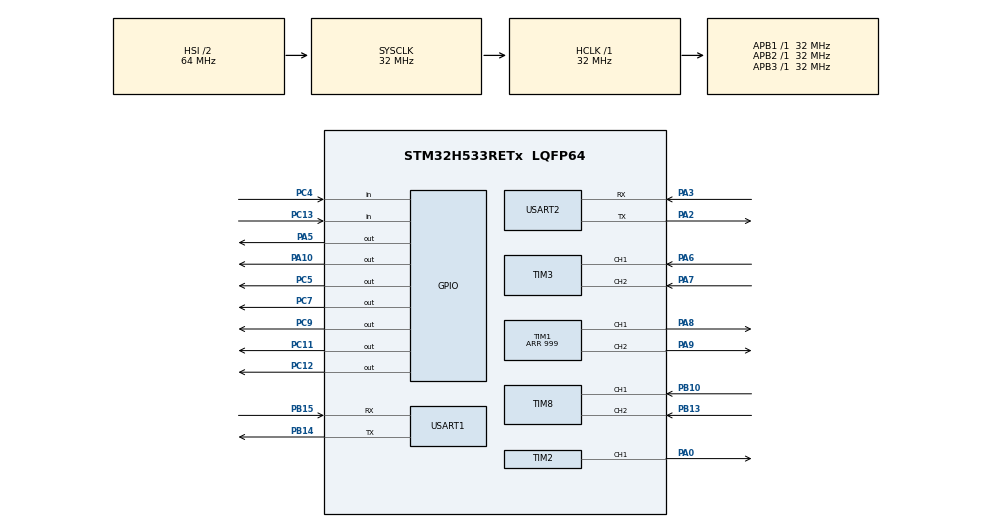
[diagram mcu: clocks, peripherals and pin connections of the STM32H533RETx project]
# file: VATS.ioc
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BOOTPATH.BootPathName=LEGACY
BOOTPATH.UserSelectedBootPath=LEGACY
CORTEX_M33_NS.userName=CORTEX_M33
Mcu.Family=STM32H5
Mcu.Name=STM32H533RETx
Mcu.Package=LQFP64
NVIC.PriorityGroup=NVIC_PRIORITYGROUP_4
NVIC.USART2_IRQn=true\:0\:0\:false\:false\:true\:true\:true\:true
PA0.Signal=S_TIM2_CH1
PA10.Signal=GPIO_Output
PA13(JTMS/SWDIO).GPIO_Label=SWDIO
PA13(JTMS/SWDIO).Signal=DEBUG_JTMS-SWDIO
PA14(JTCK/SWCLK).GPIO_Label=SWCLK
PA14(JTCK/SWCLK).Signal=DEBUG_JTCK-SWCLK
PA15(JTDI).GPIO_Label=JTDI
PA15(JTDI).Signal=DEBUG_JTDI
PA2.Mode=Asynchronous
PA2.Signal=USART2_TX
PA3.Mode=Asynchronous
PA3.Signal=USART2_RX
PA5.Signal=GPIO_Output
PA6.Signal=S_TIM3_CH1
PA7.Signal=S_TIM3_CH2
PA8.Signal=S_TIM1_CH1
PA9.Signal=S_TIM1_CH2
PB10.Signal=S_TIM8_CH1
PB13.Signal=S_TIM8_CH2
PB14.Mode=Asynchronous
PB14.Signal=USART1_TX
PB15.Mode=Asynchronous
PB15.Signal=USART1_RX
PB3(JTDO/TRACESWO).GPIO_Label=SWO
PB3(JTDO/TRACESWO).Signal=DEBUG_JTDO-SWO
PB6.Signal=I2C1_SCL
PB7.Signal=I2C1_SDA
PC11.Signal=GPIO_Output
PC12.Signal=GPIO_Output
PC13.Signal=GPIO_Input
PC4.Signal=GPIO_Input
PC5.Signal=GPIO_Output
PC7.Signal=GPIO_Output
PC9.Signal=GPIO_Output
ProjectManager.HeapSize=0x200
ProjectManager.StackSize=0x400
ProjectManager.TargetToolchain=STM32CubeIDE
RCC.ADCFreq_Value=32000000
RCC.AHBFreq_Value=32000000
RCC.APB1Freq_Value=32000000
RCC.APB1TimFreq_Value=32000000
RCC.APB2Freq_Value=32000000
RCC.APB2TimFreq_Value=32000000
RCC.APB3Freq_Value=32000000
RCC.CSI_VALUE=4000000
RCC.CortexFreq_Value=32000000
RCC.EPOD_VALUE=4000000
RCC.HCLKFreq_Value=32000000
RCC.HSE_VALUE=25000000
RCC.HSI48_VALUE=48000000
RCC.HSI_VALUE=64000000
RCC.LSE_VALUE=32768
RCC.LSIRC_VALUE=32000
RCC.SYSCLKFreq_VALUE=32000000
RCC.USBFreq_Value=48000000
RCC.VCOOutputFreq_Value=516000000
SH.S_TIM1_CH1.0=TIM1_CH1,PWM Generation1 CH1
SH.S_TIM1_CH2.0=TIM1_CH2,PWM Generation2 CH2
SH.S_TIM2_CH1.0=TIM2_CH1,PWM Generation1 CH1
SH.S_TIM3_CH1.0=TIM3_CH1,Encoder_Interface
SH.S_TIM3_CH2.0=TIM3_CH2,Encoder_Interface
SH.S_TIM8_CH1.0=TIM8_CH1,Encoder_Interface
SH.S_TIM8_CH2.0=TIM8_CH2,Encoder_Interface
TIM1.Channel-PWM\ Generation1\ CH1=TIM_CHANNEL_1
TIM1.Channel-PWM\ Generation2\ CH2=TIM_CHANNEL_2
TIM1.PeriodNoDither=999
TIM2.Channel-PWM\ Generation1\ CH1=TIM_CHANNEL_1
USART1.VirtualMode-Asynchronous=VM_ASYNC
USART2.VirtualMode-Asynchronous=VM_ASYNC
VP_BOOTPATH_VS_BOOTPATH.Mode=BP_Activate
VP_CORTEX_M33_NS_VS_Hclk.Mode=Hclk_Mode
VP_MEMORYMAP_VS_MEMORYMAP.Mode=CurAppReg
VP_PWR_VS_LPOM.Mode=PowerOptimisation
VP_PWR_VS_SECSignals.Mode=Security/Privilege
VP_TIM1_VS_ClockSourceINT.Mode=Internal
VP_TIM2_VS_ClockSourceINT.Mode=Internal
VP_TIM4_VS_ClockSourceINT.Mode=Internal
board=NUCLEO-H533RE

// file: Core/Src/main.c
/* USER CODE BEGIN Header */
/**
  ******************************************************************************
  * @file           : main.c
  * @brief          : Main program body
  ******************************************************************************
  * @attention
  *
  * Copyright (c) 2026 STMicroelectronics.
  * All rights reserved.
  *
  * This software is licensed under terms that can be found in the LICENSE file
  * in the root directory of this software component.
  * If no LICENSE file comes with this software, it is provided AS-IS.
  *
  ******************************************************************************
  */
/* USER CODE END Header */
#include "main.h"
#include "tim.h"
#include "usart.h"
#include "gpio.h"

/* USER CODE BEGIN Includes */
#include "Devices/testdiode.h"
#include "Devices/motor.h"
#include "Devices/enkoder.h"
#include "Devices/esp.h"
#include <stdio.h>
#include "pid.h"
/* USER CODE END Includes */

void SystemClock_Config(void);

int main(void)
{

  /* MCU Configuration--------------------------------------------------------*/

  /* Reset of all peripherals, Initializes the Flash interface and the Systick. */
  HAL_Init();

  /* Configure the system clock */
  SystemClock_Config();

  /* Initialize all configured peripherals */
  MX_GPIO_Init();
  MX_TIM1_Init();
  MX_TIM2_Init();
  MX_USART1_UART_Init();
  MX_TIM3_Init();
  MX_TIM4_Init();
  MX_TIM8_Init();
  MX_USART2_UART_Init();
  /* USER CODE BEGIN 2 */
  ;
  ESP_Init();
  encoder_init();
  motor_init();
  PID_Init();
  /* USER CODE END 2 */

  /* Infinite loop */
  /* USER CODE BEGIN WHILE */
  uint32_t last_uart_time = 0;
  uint32_t last_pid_time = 0;
  while (1)
  {
    /* USER CODE END WHILE */

    /* USER CODE BEGIN 3 */

	      if (HAL_GetTick() - last_pid_time >= 20) {
	          last_pid_time = HAL_GetTick();
	          motor_update_from_esp();
	      }

	      if (HAL_GetTick() - last_uart_time >= 4000) {
	          last_uart_time = HAL_GetTick();

	          float current_rpm = encoder_get_rpm_real(2000);
	          esp_send_encoder_rpm(current_rpm);
	      }
	  }
  /* USER CODE END 3 */
}

void SystemClock_Config(void)
{
  RCC_OscInitTypeDef RCC_OscInitStruct = {0};
  RCC_ClkInitTypeDef RCC_ClkInitStruct = {0};

  /** Configure the main internal regulator output voltage
  */
  __HAL_PWR_VOLTAGESCALING_CONFIG(PWR_REGULATOR_VOLTAGE_SCALE3);

  while(!__HAL_PWR_GET_FLAG(PWR_FLAG_VOSRDY)) {}

  /** Initializes the RCC Oscillators according to the specified parameters
  * in the RCC_OscInitTypeDef structure.
  */
  RCC_OscInitStruct.OscillatorType = RCC_OSCILLATORTYPE_HSI;
  RCC_OscInitStruct.HSIState = RCC_HSI_ON;
  RCC_OscInitStruct.HSIDiv = RCC_HSI_DIV2;
  RCC_OscInitStruct.HSICalibrationValue = RCC_HSICALIBRATION_DEFAULT;
  RCC_OscInitStruct.PLL.PLLState = RCC_PLL_NONE;
  if (HAL_RCC_OscConfig(&RCC_OscInitStruct) != HAL_OK)
  {
    Error_Handler();
  }

  /** Initializes the CPU, AHB and APB buses clocks
  */
  RCC_ClkInitStruct.ClockType = RCC_CLOCKTYPE_HCLK|RCC_CLOCKTYPE_SYSCLK
                              |RCC_CLOCKTYPE_PCLK1|RCC_CLOCKTYPE_PCLK2
                              |RCC_CLOCKTYPE_PCLK3;
  RCC_ClkInitStruct.SYSCLKSource = RCC_SYSCLKSOURCE_HSI;
  RCC_ClkInitStruct.AHBCLKDivider = RCC_SYSCLK_DIV1;
  RCC_ClkInitStruct.APB1CLKDivider = RCC_HCLK_DIV1;
  RCC_ClkInitStruct.APB2CLKDivider = RCC_HCLK_DIV1;
  RCC_ClkInitStruct.APB3CLKDivider = RCC_HCLK_DIV1;

  if (HAL_RCC_ClockConfig(&RCC_ClkInitStruct, FLASH_LATENCY_1) != HAL_OK)
  {
    Error_Handler();
  }

  /** Configure the programming delay
  */
  __HAL_FLASH_SET_PROGRAM_DELAY(FLASH_PROGRAMMING_DELAY_0);
}

void Error_Handler(void)
{
  __disable_irq();
  while (1)
  {
  }
}
